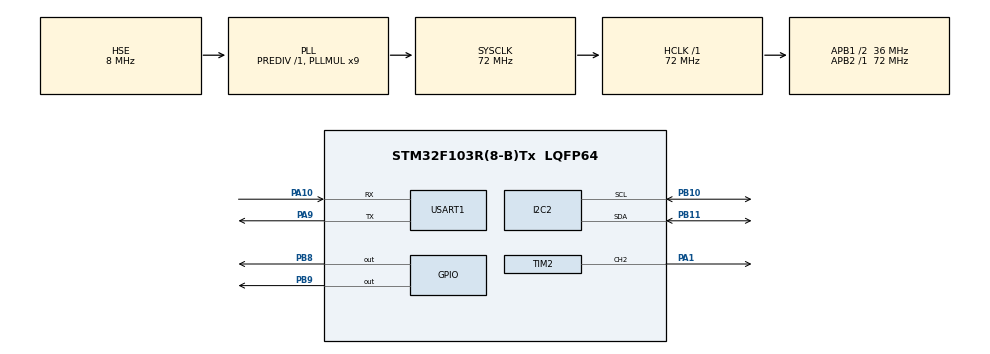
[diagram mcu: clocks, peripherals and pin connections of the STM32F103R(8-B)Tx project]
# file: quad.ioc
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Dma.Request0=USART1_TX
Dma.USART1_TX.0.Direction=DMA_MEMORY_TO_PERIPH
Dma.USART1_TX.0.Instance=DMA1_Channel4
Dma.USART1_TX.0.MemDataAlignment=DMA_MDATAALIGN_BYTE
Dma.USART1_TX.0.MemInc=DMA_MINC_ENABLE
Dma.USART1_TX.0.Mode=DMA_NORMAL
Dma.USART1_TX.0.PeriphDataAlignment=DMA_PDATAALIGN_BYTE
Dma.USART1_TX.0.PeriphInc=DMA_PINC_DISABLE
Dma.USART1_TX.0.Priority=DMA_PRIORITY_LOW
FREERTOS.Tasks01=pidTask,24,128,pidStart,Default,NULL,Dynamic,NULL,NULL;gpsPoll,17,128,startGps,Default,NULL,Dynamic,NULL,NULL
Mcu.Family=STM32F1
Mcu.Name=STM32F103R(8-B)Tx
Mcu.Package=LQFP64
NVIC.DMA1_Channel4_IRQn=true\:5\:0\:false\:false\:true\:true\:false\:true
NVIC.PriorityGroup=NVIC_PRIORITYGROUP_4
NVIC.TIM4_IRQn=true\:0\:0\:false\:false\:true\:false\:false\:true
NVIC.TimeBase=TIM4_IRQn
NVIC.TimeBaseIP=TIM4
PA1.Signal=S_TIM2_CH2
PA10.Mode=Asynchronous
PA10.Signal=USART1_RX
PA9.Mode=Asynchronous
PA9.Signal=USART1_TX
PB10.Mode=I2C
PB10.Signal=I2C2_SCL
PB11.Mode=I2C
PB11.Signal=I2C2_SDA
PB8.Signal=GPIO_Output
PB9.Signal=GPIO_Output
PD0-OSC_IN.Mode=HSE-External-Oscillator
PD0-OSC_IN.Signal=RCC_OSC_IN
PD1-OSC_OUT.Mode=HSE-External-Oscillator
PD1-OSC_OUT.Signal=RCC_OSC_OUT
ProjectManager.HeapSize=0x200
ProjectManager.StackSize=0x400
ProjectManager.TargetToolchain=STM32CubeIDE
RCC.AHBFreq_Value=72000000
RCC.APB1CLKDivider=RCC_HCLK_DIV2
RCC.APB1Freq_Value=36000000
RCC.APB1TimFreq_Value=72000000
RCC.APB2Freq_Value=72000000
RCC.APB2TimFreq_Value=72000000
RCC.HCLKFreq_Value=72000000
RCC.PLLMUL=RCC_PLL_MUL9
RCC.PLLSourceVirtual=RCC_PLLSOURCE_HSE
RCC.SYSCLKFreq_VALUE=72000000
RCC.SYSCLKSource=RCC_SYSCLKSOURCE_PLLCLK
RCC.USBFreq_Value=72000000
SH.S_TIM2_CH2.0=TIM2_CH2,PWM Generation2 CH2
TIM2.Channel-PWM\ Generation2\ CH2=TIM_CHANNEL_2
TIM2.Period=100-1
TIM2.Prescaler=72-1
USART1.VirtualMode=VM_ASYNC
VP_FREERTOS_VS_CMSIS_V2.Mode=CMSIS_V2
VP_SYS_VS_ND.Mode=No_Debug
VP_SYS_VS_tim4.Mode=TIM4
VP_TIM2_VS_ClockSourceINT.Mode=Internal
board=custom

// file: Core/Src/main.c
/* USER CODE BEGIN Header */
/**
 ******************************************************************************
 * @file           : main.c
 * @brief          : Main program body
 ******************************************************************************
 * @attention
 *
 * <h2><center>&copy; Copyright (c) 2020 STMicroelectronics.
 * All rights reserved.</center></h2>
 *
 * This software component is licensed by ST under BSD 3-Clause license,
 * the "License"; You may not use this file except in compliance with the
 * License. You may obtain a copy of the License at:
 *                        opensource.org/licenses/BSD-3-Clause
 *
 ******************************************************************************
 */
/* USER CODE END Header */

#include "main.h"
#include "cmsis_os.h"
#include "dma.h"
#include "i2c.h"
#include "tim.h"
#include "usart.h"
#include "gpio.h"

/* USER CODE BEGIN PD */
//#define MPU6050_ADDR 0x68
//#define SMPLRT_DIV_REG 0x19
//#define GYRO_CONFIG_REG 0x1B
//#define ACCEL_CONFIG_REG 0x1C
//#define ACCEL_XOUT_H_REG 0x3B
//#define TEMP_OUT_H_REG 0x41
//#define GYRO_XOUT_H_REG 0x43
//#define PWR_MGMT_1_REG 0x6B
//#define WHO_AM_I_REG 0x75
#include "stdio.h"
#include "math.h"
#include "stdlib.h"
#include "IMU/imu.h"
#include "constDefines.h"
/* USER CODE END PD */

/* USER CODE BEGIN PV */
//***********************VARIABLES*********************************
//int16_t Accel_X_RAW = 0;
//int16_t Accel_Y_RAW = 0;
//int16_t Accel_Z_RAW = 0;
//
//int16_t Gyro_X_RAW = 0;
//int16_t Gyro_Y_RAW = 0;
//int16_t Gyro_Z_RAW = 0;
//uint8_t data[] = "HELLO WORLllllllD\n\r";
//float Ax, Ay, Az, Gx, Gy, Gz;
//int8_t transmissionComplete = 1;
uint8_t receivedData[30] = "012345678901234567890123456789";
uint8_t dataTypeToReturn = 255;
int motorsInit = 0;
int x = 0;
int initComplete = 0;

/* USER CODE END PV */

void SystemClock_Config(void);
void MX_FREERTOS_Init(void);
/* USER CODE BEGIN PFP */

void initIMU(void);
void debugLED(uint8_t);
/* USER CODE END PFP */

int main(void)
{

  /* MCU Configuration--------------------------------------------------------*/

  /* Reset of all peripherals, Initializes the Flash interface and the Systick. */
  HAL_Init();

  /* Configure the system clock */
  SystemClock_Config();

  /* Initialize all configured peripherals */
  MX_GPIO_Init();
  MX_DMA_Init();
  MX_I2C2_Init();
  MX_TIM2_Init();
  MX_USART1_UART_Init();
  /* USER CODE BEGIN 2 */
	initIMU();
	HAL_TIM_Base_Start(&htim2);
	HAL_TIM_PWM_Start(&htim2, TIM_CHANNEL_2);
	htim2.Instance->CCR1 = 50;

  /* USER CODE END 2 */

  /* Init scheduler */
  osKernelInitialize();  /* Call init function for freertos objects (in freertos.c) */
  MX_FREERTOS_Init();
  /* Start scheduler */
  osKernelStart();

  /* We should never get here as control is now taken by the scheduler */
  /* Infinite loop */
  /* USER CODE BEGIN WHILE */
	int counter = 0;
	while (1) {
    /* USER CODE END WHILE */

	}
}

void SystemClock_Config(void)
{
  RCC_OscInitTypeDef RCC_OscInitStruct = {0};
  RCC_ClkInitTypeDef RCC_ClkInitStruct = {0};

  /** Initializes the CPU, AHB and APB busses clocks
  */
  RCC_OscInitStruct.OscillatorType = RCC_OSCILLATORTYPE_HSE;
  RCC_OscInitStruct.HSEState = RCC_HSE_ON;
  RCC_OscInitStruct.HSEPredivValue = RCC_HSE_PREDIV_DIV1;
  RCC_OscInitStruct.HSIState = RCC_HSI_ON;
  RCC_OscInitStruct.PLL.PLLState = RCC_PLL_ON;
  RCC_OscInitStruct.PLL.PLLSource = RCC_PLLSOURCE_HSE;
  RCC_OscInitStruct.PLL.PLLMUL = RCC_PLL_MUL9;
  if (HAL_RCC_OscConfig(&RCC_OscInitStruct) != HAL_OK)
  {
    Error_Handler();
  }
  /** Initializes the CPU, AHB and APB busses clocks
  */
  RCC_ClkInitStruct.ClockType = RCC_CLOCKTYPE_HCLK|RCC_CLOCKTYPE_SYSCLK
                              |RCC_CLOCKTYPE_PCLK1|RCC_CLOCKTYPE_PCLK2;
  RCC_ClkInitStruct.SYSCLKSource = RCC_SYSCLKSOURCE_PLLCLK;
  RCC_ClkInitStruct.AHBCLKDivider = RCC_SYSCLK_DIV1;
  RCC_ClkInitStruct.APB1CLKDivider = RCC_HCLK_DIV2;
  RCC_ClkInitStruct.APB2CLKDivider = RCC_HCLK_DIV1;

  if (HAL_RCC_ClockConfig(&RCC_ClkInitStruct, FLASH_LATENCY_2) != HAL_OK)
  {
    Error_Handler();
  }
}

/* USER CODE BEGIN 4 */
void initIMU(void) {
	uint8_t check;
	uint8_t Data;

	HAL_I2C_Mem_Read(&hi2c2, 0x68, WHO_AM_I_REG, 1, &check, 1, 1000);
	Data = 0;
	if (check == 0x68) {
		Data = 0;
		HAL_I2C_Mem_Write(&hi2c2, MPU6050_ADDR, PWR_MGMT_1_REG, 1, &Data, 1,
				1000);

		// Set DATA RATE of 1KHz by writing SMPLRT_DIV register
		Data = 0x07;
		HAL_I2C_Mem_Write(&hi2c2, MPU6050_ADDR, SMPLRT_DIV_REG, 1, &Data, 1,
				1000);

		// Set accelerometer configuration in ACCEL_CONFIG Register
		// XA_ST=0,YA_ST=0,ZA_ST=0, FS_SEL=0 -> � 2g
		Data = 0x00;
		HAL_I2C_Mem_Write(&hi2c2, MPU6050_ADDR, ACCEL_CONFIG_REG, 1, &Data, 1,
				1000);

		// Set Gyroscopic configuration in GYRO_CONFIG Register
		// XG_ST=0,YG_ST=0,ZG_ST=0, FS_SEL=0 -> � 250 �/s
		Data = 0x00;
		HAL_I2C_Mem_Write(&hi2c2, MPU6050_ADDR, GYRO_CONFIG_REG, 1, &Data, 1,
				1000);
		HAL_GPIO_WritePin(GPIOB, GPIO_PIN_9, GPIO_PIN_SET);

	} else {

	}
	debugLED(check);
}
void debugLED(uint8_t check) {

	HAL_GPIO_WritePin(GPIOB, GPIO_PIN_9, GPIO_PIN_RESET);
	HAL_GPIO_WritePin(GPIOB, GPIO_PIN_8, GPIO_PIN_RESET);
	HAL_Delay(1000);
	HAL_GPIO_WritePin(GPIOB, GPIO_PIN_9, GPIO_PIN_SET);
	HAL_GPIO_WritePin(GPIOB, GPIO_PIN_8, GPIO_PIN_SET);
	HAL_Delay(1000);
	for (int i = 0; i < 8; i++) {
		HAL_GPIO_TogglePin(GPIOB, GPIO_PIN_8);
		if (((check >> i) & 1) == 0) {
			HAL_GPIO_WritePin(GPIOB, GPIO_PIN_9, GPIO_PIN_SET);
		} else {
			HAL_GPIO_WritePin(GPIOB, GPIO_PIN_9, GPIO_PIN_RESET);
		}
		HAL_Delay(150);

	}
	//SIGNAL COMPLETE
	for (int i = 0; i < 15; i++) {
		HAL_GPIO_TogglePin(GPIOB, GPIO_PIN_8);

		HAL_Delay(25);
	}
	HAL_GPIO_WritePin(GPIOB, GPIO_PIN_8, GPIO_PIN_SET);

}

void readIMUAccel(void) {

	uint8_t dataReceived[6];
	// Read 6 BYTES of data starting from ACCEL_XOUT_H register
	uint16_t accelScaleFactor = 16384.0;
	HAL_I2C_Mem_Read(&hi2c2, MPU6050_ADDR, ACCEL_XOUT_H_REG, 1, dataReceived, 6,
			1000);

	Accel_X_RAW = (int16_t) (dataReceived[0] << 8 | dataReceived[1]);
	Accel_Y_RAW = (int16_t) (dataReceived[2] << 8 | dataReceived[3]);
	Accel_Z_RAW = (int16_t) (dataReceived[4] << 8 | dataReceived[5]);

	/*** convert the RAW values into acceleration in 'g'
	 we have to divide according to the Full scale value set in FS_SEL
	 I have configured FS_SEL = 0. So I am dividing by 16384.0
	 for more details check ACCEL_CONFIG Register              ****/

	Ax = Accel_X_RAW / accelScaleFactor;
	Ay = Accel_Y_RAW / accelScaleFactor;
	Az = Accel_Z_RAW / accelScaleFactor;

}

void readIMUGyro(void) {
	uint8_t dataReceived[6];
	uint16_t gryoScaleFactor = 131.0;
	// Read 6 BYTES of data starting from GYRO_XOUT_H register

	HAL_I2C_Mem_Read(&hi2c2, MPU6050_ADDR, GYRO_XOUT_H_REG, 1, dataReceived, 6,
			1000);

	Gyro_X_RAW = (int16_t) (dataReceived[0] << 8 | dataReceived[1]);
	Gyro_Y_RAW = (int16_t) (dataReceived[2] << 8 | dataReceived[3]);
	Gyro_Z_RAW = (int16_t) (dataReceived[4] << 8 | dataReceived[5]);

	/*** convert the RAW values into dps (�/s)
	 we have to divide according to the Full scale value set in FS_SEL
	 I have configured FS_SEL = 0. So I am dividing by 131.0
	 for more details check GYRO_CONFIG Register              ****/

	Gx = Gyro_X_RAW / gryoScaleFactor;
	Gy = Gyro_Y_RAW / gryoScaleFactor;
	Gz = Gyro_Z_RAW / gryoScaleFactor;

}

void HAL_UART_TxCpltCallback(UART_HandleTypeDef *huart) {
	transmissionComplete = 1;
}
/* USER CODE END 4 */

 /**
  * @brief  Period elapsed callback in non blocking mode
  * @note   This function is called  when TIM4 interrupt took place, inside
  * HAL_TIM_IRQHandler(). It makes a direct call to HAL_IncTick() to increment
  * a global variable "uwTick" used as application time base.
  * @param  htim : TIM handle
  * @retval None
  */
void HAL_TIM_PeriodElapsedCallback(TIM_HandleTypeDef *htim)
{
  if (htim->Instance == TIM4) {
    HAL_IncTick();
  }
}

void Error_Handler(void)
{
}

/************************ (C) COPYRIGHT STMicroelectronics *****END OF FILE****/

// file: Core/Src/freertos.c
/* USER CODE BEGIN Header */
/**
  ******************************************************************************
  * File Name          : freertos.c
  * Description        : Code for freertos applications
  ******************************************************************************
  * @attention
  *
  * <h2><center>&copy; Copyright (c) 2020 STMicroelectronics.
  * All rights reserved.</center></h2>
  *
  * This software component is licensed by ST under Ultimate Liberty license
  * SLA0044, the "License"; You may not use this file except in compliance with
  * the License. You may obtain a copy of the License at:
  *                             www.st.com/SLA0044
  *
  ******************************************************************************
  */
/* USER CODE END Header */

#include "FreeRTOS.h"
#include "task.h"
#include "main.h"
#include "cmsis_os.h"

/* Definitions for pidTask */
osThreadId_t pidTaskHandle;
const osThreadAttr_t pidTask_attributes = {
  .name = "pidTask",
  .priority = (osPriority_t) osPriorityNormal,
  .stack_size = 128 * 4
};
/* Definitions for gpsPoll */
osThreadId_t gpsPollHandle;
const osThreadAttr_t gpsPoll_attributes = {
  .name = "gpsPoll",
  .priority = (osPriority_t) osPriorityBelowNormal1,
  .stack_size = 128 * 4
};

void pidStart(void *argument);
void startGps(void *argument);

void MX_FREERTOS_Init(void); /* (MISRA C 2004 rule 8.1) */

void MX_FREERTOS_Init(void) {

  /* Create the thread(s) */
  /* creation of pidTask */
  pidTaskHandle = osThreadNew(pidStart, NULL, &pidTask_attributes);

  /* creation of gpsPoll */
  gpsPollHandle = osThreadNew(startGps, NULL, &gpsPoll_attributes);

}

void pidStart(void *argument)
{
  for(;;)
  {
    osDelay(1);
  }
}

void startGps(void *argument)
{
  for(;;)
  {
    osDelay(1);
  }
}

/************************ (C) COPYRIGHT STMicroelectronics *****END OF FILE****/
